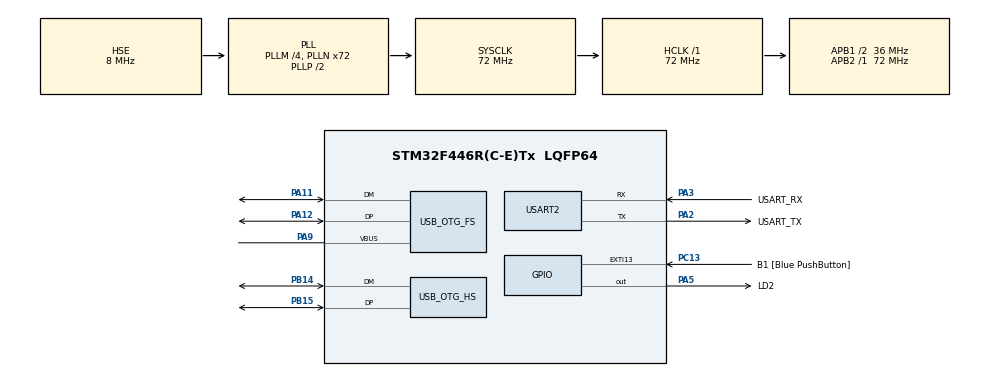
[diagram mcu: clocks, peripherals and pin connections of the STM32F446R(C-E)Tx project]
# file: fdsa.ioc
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Mcu.Family=STM32F4
Mcu.Name=STM32F446R(C-E)Tx
Mcu.Package=LQFP64
NVIC.OTG_FS_IRQn=true\:0\:0\:false\:false\:true\:false\:true
NVIC.OTG_HS_IRQn=true\:0\:0\:false\:false\:true\:false\:true
NVIC.PriorityGroup=NVIC_PRIORITYGROUP_0
PA11.Mode=Host_Only
PA11.Signal=USB_OTG_FS_DM
PA12.Mode=Host_Only
PA12.Signal=USB_OTG_FS_DP
PA13.GPIO_Label=TMS
PA13.Signal=SYS_JTMS-SWDIO
PA14.GPIO_Label=TCK
PA14.Signal=SYS_JTCK-SWCLK
PA2.GPIO_Label=USART_TX
PA2.Mode=Asynchronous
PA2.Signal=USART2_TX
PA3.GPIO_Label=USART_RX
PA3.Mode=Asynchronous
PA3.Signal=USART2_RX
PA5.GPIO_Label=LD2
PA5.Signal=GPIO_Output
PA9.Mode=Activate_VBUS
PA9.Signal=USB_OTG_FS_VBUS
PB14.Mode=Device_Only_FS
PB14.Signal=USB_OTG_HS_DM
PB15.Mode=Device_Only_FS
PB15.Signal=USB_OTG_HS_DP
PB3.GPIO_Label=SWO
PB3.Signal=SYS_JTDO-SWO
PC13.GPIO_Label=B1 [Blue PushButton]
PC13.GPIO_ModeDefaultEXTI=GPIO_MODE_IT_FALLING
PC13.Signal=GPXTI13
PC14-OSC32_IN.Signal=RCC_OSC32_IN
PC15-OSC32_OUT.Signal=RCC_OSC32_OUT
PH0-OSC_IN.Mode=HSE-External-Oscillator
PH0-OSC_IN.Signal=RCC_OSC_IN
PH1-OSC_OUT.Mode=HSE-External-Oscillator
PH1-OSC_OUT.Signal=RCC_OSC_OUT
ProjectManager.HeapSize=0x200
ProjectManager.StackSize=0x400
ProjectManager.TargetToolchain=STM32CubeIDE
RCC.AHBFreq_Value=72000000
RCC.APB1CLKDivider=RCC_HCLK_DIV2
RCC.APB1Freq_Value=36000000
RCC.APB1TimFreq_Value=72000000
RCC.APB2Freq_Value=72000000
RCC.APB2TimFreq_Value=72000000
RCC.CortexFreq_Value=72000000
RCC.FLatency-AdvancedSettings=FLASH_LATENCY_2
RCC.HCLKFreq_Value=72000000
RCC.HSE_VALUE=8000000
RCC.HSI_VALUE=16000000
RCC.LSE_VALUE=32768
RCC.PLLM=4
RCC.PLLN=72
RCC.PLLQ=3
RCC.SYSCLKFreq_VALUE=72000000
RCC.SYSCLKSource=RCC_SYSCLKSOURCE_PLLCLK
RCC.USBFreq_Value=48000000
RCC.VCOOutputFreq_Value=144000000
USART2.VirtualMode=VM_ASYNC
USB_DEVICE.CLASS_NAME_HS=CUSTOM_HID
USB_DEVICE.CUSTOM_HID_HS_BINTERVAL=0x0A
USB_DEVICE.PRODUCT_STRING_CUSTOMHID_HS=Keyboard
USB_DEVICE.USBD_CUSTOMHID_OUTREPORT_BUF_SIZE-CUSTOM_HID_HS=8
USB_DEVICE.USBD_CUSTOM_HID_REPORT_DESC_SIZE-CUSTOM_HID_HS=63
USB_DEVICE.VirtualMode-CUSTOM_HID_HS=CustomHid
USB_DEVICE.VirtualModeHS=Custom_Hid_HS
USB_HOST.BSP.number=1
USB_HOST.USBH_HandleTypeDef-HID_FS=hUsbHostFS
USB_HOST.VirtualModeFS=Hid
USB_HOST0.BSP.STBoard=false
USB_HOST0.BSP.api=Unknown
USB_HOST0.BSP.i2caddr=0
USB_HOST0.BSP.instance=PA5
USB_HOST0.BSP.ip=GPIO
USB_HOST0.BSP.mode=Output
USB_HOST0.BSP.name=Drive_VBUS_FS
USB_HOST0.BSP.solution=PA5
USB_OTG_FS.VirtualMode=Host_Only
USB_OTG_FS.phy_itface=HCD_PHY_EMBEDDED
USB_OTG_HS.VirtualMode-Device_Only_FS=Device_Only_FS
VP_USB_DEVICE_VS_USB_DEVICE_CUSTOM_HID_HS.Mode=CUSTOM_HID_HS
VP_USB_HOST_VS_USB_HOST_HID_FS.Mode=HID_FS
board=NUCLEO-F446RE

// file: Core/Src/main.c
/* USER CODE BEGIN Header */
/**
  ******************************************************************************
  * @file           : main.c
  * @brief          : Main program body
  ******************************************************************************
  * @attention
  *
  * <h2><center>&copy; Copyright (c) 2020 STMicroelectronics.
  * All rights reserved.</center></h2>
  *
  * This software component is licensed by ST under BSD 3-Clause license,
  * the "License"; You may not use this file except in compliance with the
  * License. You may obtain a copy of the License at:
  *                        opensource.org/licenses/BSD-3-Clause
  *
  ******************************************************************************
  */
/* USER CODE END Header */
#include "main.h"
#include "usb_device.h"
#include "usb_host.h"

/* USER CODE BEGIN Includes */
#include "usbh_hid.h"
#include "usbh_hid_keybd.h"
#include "usb_hid_keyboard.h"
#include <stdio.h>
#include <stdlib.h>
#include <errno.h>
/* USER CODE END Includes */

/* USER CODE BEGIN PTD */
#define KEY_COMBINATION_MAX_LEN 4

struct KeyCombination {
	uint8_t keys[KEY_COMBINATION_MAX_LEN];
	const char *txt;
	const uint8_t len;
};
typedef struct KeyCombination key_comb;

/* USER CODE END PTD */

UART_HandleTypeDef huart2;

/* USER CODE BEGIN PV */

// DEVICE-related
extern USBD_HandleTypeDef hUsbDeviceHS;
//static uint8_t HID_buffer[8] = { 0 };

// HOST-related
volatile uint8_t uart_buffer[1024];
// Stores last x keys
volatile uint8_t kb_key_buffer[4];
// WARNING: Strnig must be null terminated!
const key_comb kb_shortcuts[2] = {{
		{'a', 's', 'd', 'f'}, "Ala ma kota\0", sizeof("Ala ma kota\0")
}, {
		{'p', 'r', 'z', 'y'}, "kladowe zdanie dokonczone automatycznie\0", sizeof("kladowe zdanie dokonczone automatycznie\0")
}};
volatile uint8_t key_pressed = 0;

/* USER CODE END PV */

void SystemClock_Config(void);
static void MX_GPIO_Init(void);
static void MX_USART2_UART_Init(void);
void MX_USB_HOST_Process(void);

/* USER CODE BEGIN 0 */

// Send string as letters

int _write(int file, const char *ptr, ssize_t len) {
    // If the target file isn't stdout/stderr, then return an error
    // since we don't _actually_ support file handles
    if (file != 1 && file != 2) {
        // Set the errno code
        errno = EIO;
        return -1;
    }

    // Keep i defined outside the loop so we can return it
    int i;
    for (i = 0; i < len; i++) {
        // If we get a newline character, also be sure to send the carriage
        // return character first, otherwise the serial console may not
        // actually return to the left.
        if (ptr[i] == '\n') {
            HAL_UART_Transmit(&huart2, (uint8_t *) ptr, len, 1000);
        }

        // Write the character to send to the USART1 transmit buffer, and block
        // until it has been sent.
        HAL_UART_Transmit(&huart2, (uint8_t *) ptr, len, 1000);
    }

    // Return the number of bytes we sent
    return i;
}

void update_kb_buffer(uint8_t pressed_key) {
	for (int i = 1; i < sizeof(kb_key_buffer); i++) {
		kb_key_buffer[i - 1] = kb_key_buffer[i];
	}
	kb_key_buffer[sizeof(kb_key_buffer) - 1] = pressed_key;
}

int find_match() {
	int8_t match = -1;
	for (uint8_t i = 0; i < sizeof(kb_shortcuts); i++) {
		key_comb kc = kb_shortcuts[i];

		uint8_t j;
		for (j = 0; j < sizeof(kb_key_buffer); j++) {
			if (kc.keys[j] != kb_key_buffer[j]) {
				break;
			}
		}

		if (j == sizeof(kb_key_buffer)) {
			match = i;
			break;
		}
	}
	return match;
}

void USBH_HID_EventCallback(USBH_HandleTypeDef *phost) {

	if (USBH_HID_GetDeviceType(phost) != HID_KEYBOARD) {
		printf("Device not supported! Device type: %d\r\n", USBH_HID_GetDeviceType(phost));
	}

	HID_KEYBD_Info_TypeDef *kbd_info;
	kbd_info = USBH_HID_GetKeybdInfo(phost);
	char key = USBH_HID_GetASCIICode(kbd_info);

	// https://www.usb.org/document-library/device-class-definition-hid-111
	// page 56

	if (key == KEY_NONE) {
		printf("Key released\r\n");
	} else {
		printf("Key pressed: %c (id: %d)\r\n", key, (uint8_t) key);
	}

//	if (!key_pressed) {
		USB_Keyboard_SendChar(key, 0, kbd_info);

		// we don't want to insert key releases into our buffer
		if (key != KEY_NONE) {
//			key_pressed = 1;
			update_kb_buffer((uint8_t) key);
			int c = find_match();
			//		printf("Kombinacja: %d\r\n", c);

			if (c >= 0) {
				printf("%.*s", kb_shortcuts[c].len, kb_shortcuts[c].txt);
				HAL_Delay(15);
				USB_Keyboard_SendString(kb_shortcuts[c].txt, kbd_info);
			} else {
				printf("%c", key);
			}
		}
//	} else {
//		key_pressed = 0;
//	}

}

/* USER CODE END 0 */

int main(void)
{

  /* MCU Configuration--------------------------------------------------------*/

  /* Reset of all peripherals, Initializes the Flash interface and the Systick. */
  HAL_Init();

  /* Configure the system clock */
  SystemClock_Config();

  /* Initialize all configured peripherals */
  MX_GPIO_Init();
  MX_USART2_UART_Init();
  MX_USB_HOST_Init();
  MX_USB_DEVICE_Init();
  /* USER CODE BEGIN 2 */
  setbuf(stdout, NULL);
  printf("Starting up...\r\n");
  /* USER CODE END 2 */

  /* Infinite loop */
  while (1)
  {
    MX_USB_HOST_Process();

  }
}

void SystemClock_Config(void)
{
  RCC_OscInitTypeDef RCC_OscInitStruct = {0};
  RCC_ClkInitTypeDef RCC_ClkInitStruct = {0};
  RCC_PeriphCLKInitTypeDef PeriphClkInitStruct = {0};

  /** Configure the main internal regulator output voltage
  */
  __HAL_RCC_PWR_CLK_ENABLE();
  __HAL_PWR_VOLTAGESCALING_CONFIG(PWR_REGULATOR_VOLTAGE_SCALE3);
  /** Initializes the RCC Oscillators according to the specified parameters
  * in the RCC_OscInitTypeDef structure.
  */
  RCC_OscInitStruct.OscillatorType = RCC_OSCILLATORTYPE_HSE;
  RCC_OscInitStruct.HSEState = RCC_HSE_ON;
  RCC_OscInitStruct.PLL.PLLState = RCC_PLL_ON;
  RCC_OscInitStruct.PLL.PLLSource = RCC_PLLSOURCE_HSE;
  RCC_OscInitStruct.PLL.PLLM = 4;
  RCC_OscInitStruct.PLL.PLLN = 72;
  RCC_OscInitStruct.PLL.PLLP = RCC_PLLP_DIV2;
  RCC_OscInitStruct.PLL.PLLQ = 3;
  RCC_OscInitStruct.PLL.PLLR = 2;
  if (HAL_RCC_OscConfig(&RCC_OscInitStruct) != HAL_OK)
  {
    Error_Handler();
  }
  /** Initializes the CPU, AHB and APB buses clocks
  */
  RCC_ClkInitStruct.ClockType = RCC_CLOCKTYPE_HCLK|RCC_CLOCKTYPE_SYSCLK
                              |RCC_CLOCKTYPE_PCLK1|RCC_CLOCKTYPE_PCLK2;
  RCC_ClkInitStruct.SYSCLKSource = RCC_SYSCLKSOURCE_PLLCLK;
  RCC_ClkInitStruct.AHBCLKDivider = RCC_SYSCLK_DIV1;
  RCC_ClkInitStruct.APB1CLKDivider = RCC_HCLK_DIV2;
  RCC_ClkInitStruct.APB2CLKDivider = RCC_HCLK_DIV1;

  if (HAL_RCC_ClockConfig(&RCC_ClkInitStruct, FLASH_LATENCY_2) != HAL_OK)
  {
    Error_Handler();
  }
  PeriphClkInitStruct.PeriphClockSelection = RCC_PERIPHCLK_CLK48;
  PeriphClkInitStruct.Clk48ClockSelection = RCC_CLK48CLKSOURCE_PLLQ;
  if (HAL_RCCEx_PeriphCLKConfig(&PeriphClkInitStruct) != HAL_OK)
  {
    Error_Handler();
  }
}

static void MX_USART2_UART_Init(void)
{

  huart2.Instance = USART2;
  huart2.Init.BaudRate = 115200;
  huart2.Init.WordLength = UART_WORDLENGTH_8B;
  huart2.Init.StopBits = UART_STOPBITS_1;
  huart2.Init.Parity = UART_PARITY_NONE;
  huart2.Init.Mode = UART_MODE_TX_RX;
  huart2.Init.HwFlowCtl = UART_HWCONTROL_NONE;
  huart2.Init.OverSampling = UART_OVERSAMPLING_16;
  if (HAL_UART_Init(&huart2) != HAL_OK)
  {
    Error_Handler();
  }

}

static void MX_GPIO_Init(void)
{
  GPIO_InitTypeDef GPIO_InitStruct = {0};

  /* GPIO Ports Clock Enable */
  __HAL_RCC_GPIOC_CLK_ENABLE();
  __HAL_RCC_GPIOH_CLK_ENABLE();
  __HAL_RCC_GPIOA_CLK_ENABLE();
  __HAL_RCC_GPIOB_CLK_ENABLE();

  /*Configure GPIO pin Output Level */
  HAL_GPIO_WritePin(LD2_GPIO_Port, LD2_Pin, GPIO_PIN_RESET);

  /*Configure GPIO pin : B1_Pin */
  GPIO_InitStruct.Pin = B1_Pin;
  GPIO_InitStruct.Mode = GPIO_MODE_IT_FALLING;
  GPIO_InitStruct.Pull = GPIO_NOPULL;
  HAL_GPIO_Init(B1_GPIO_Port, &GPIO_InitStruct);

  /*Configure GPIO pin : LD2_Pin */
  GPIO_InitStruct.Pin = LD2_Pin;
  GPIO_InitStruct.Mode = GPIO_MODE_OUTPUT_PP;
  GPIO_InitStruct.Pull = GPIO_NOPULL;
  GPIO_InitStruct.Speed = GPIO_SPEED_FREQ_LOW;
  HAL_GPIO_Init(LD2_GPIO_Port, &GPIO_InitStruct);

}

void Error_Handler(void)
{
  /* USER CODE BEGIN Error_Handler_Debug */
  /* User can add his own implementation to report the HAL error return state */
	printf("ERROR!\r\n");
  /* USER CODE END Error_Handler_Debug */
}

/************************ (C) COPYRIGHT STMicroelectronics *****END OF FILE****/
